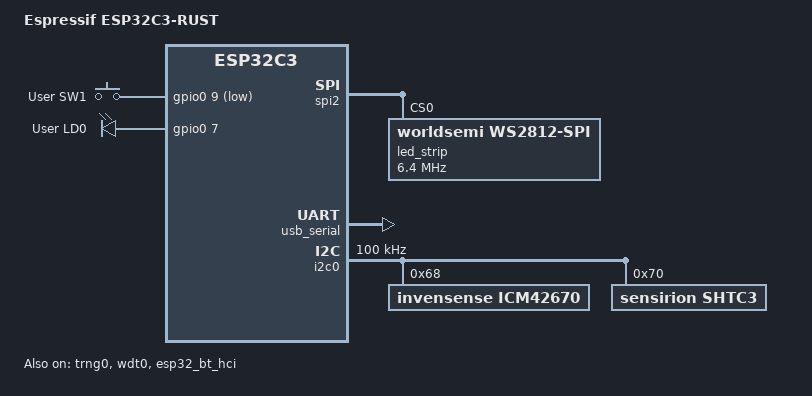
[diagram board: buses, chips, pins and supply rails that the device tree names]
/*
 * Copyright (c) 2024 Espressif Systems (Shanghai) Co., Ltd.
 *
 * SPDX-License-Identifier: Apache-2.0
 */

/dts-v1/;

#include <espressif/esp32c3/esp32c3_mini_n4.dtsi>
#include "esp32c3_rust-pinctrl.dtsi"
#include <zephyr/dt-bindings/input/input-event-codes.h>
#include <zephyr/dt-bindings/led/led.h>
#include <espressif/partitions_0x0_default.dtsi>

/ {
	model = "Espressif ESP32C3-RUST";
	compatible = "espressif,esp32c3_rust";

	chosen {
		zephyr,sram = &sram0;
		zephyr,console = &usb_serial;
		zephyr,shell-uart = &usb_serial;
		zephyr,flash = &flash0;
		zephyr,code-partition = &slot0_partition;
	};

	aliases {
		led0 = &red_led_0;
		sw0 = &user_button1;
		i2c-0 = &i2c0;
		watchdog0 = &wdt0;
		led-strip = &led_strip;
	};

	gpio_keys {
		compatible = "gpio-keys";
		user_button1: button_1 {
			label = "User SW1";
			gpios = <&gpio0 9 (GPIO_PULL_UP | GPIO_ACTIVE_LOW)>;
			zephyr,code = <INPUT_KEY_0>;
		};
	};

	leds {
		compatible = "gpio-leds";
		red_led_0: led_0 {
			gpios = <&gpio0 7 GPIO_ACTIVE_HIGH>;
			label = "User LD0";
		};
	};

};

&spi2 {
	#address-cells = <1>;
	#size-cells = <0>;
	status = "okay";
	pinctrl-0 = <&spim2_default>;
	pinctrl-names = "default";

	/* Workaround to support WS2812 driver */
	line-idle-low;
	status = "okay";

	led_strip: ws2812@0 {
			compatible = "worldsemi,ws2812-spi";

			/* SPI */
			reg = <0>; /* ignored, but necessary for SPI bindings */
			spi-max-frequency = <6400000>;

			/* WS2812 */
			chain-length = <1>; /* arbitrary; change at will */
			spi-cpha;
			spi-one-frame = <0xf0>; /* 11110000: 625 ns high and 625 ns low */
			spi-zero-frame = <0xc0>; /* 11000000: 312.5 ns high and 937.5 ns low */
			color-mapping = <LED_COLOR_ID_GREEN
					LED_COLOR_ID_RED
					LED_COLOR_ID_BLUE>;
	};
};

&usb_serial {
	status = "okay";
};


&i2c0 {
	status = "okay";
	clock-frequency = <I2C_BITRATE_STANDARD>;
	pinctrl-0 = <&i2c0_default>;
	pinctrl-names = "default";

	icm42670@68 {
		compatible = "invensense,icm42670";
		reg = <0x68>;
		status = "okay";
		accel-hz = <800>;
		accel-fs = <16>;
		gyro-hz = <800>;
		gyro-fs = <2000>;
	};

	shtc3@70 {
		compatible = "sensirion,shtc3", "sensirion,shtcx";
		reg = <0x70>;
		measure-mode = "normal";
		clock-stretching;
	};
};

&trng0 {
	status = "okay";
};

&gpio0 {
	status = "okay";
};

&wdt0 {
	status = "okay";
};

&uart0 {
	status = "disabled";
};

&esp32_bt_hci {
	status = "okay";
};
